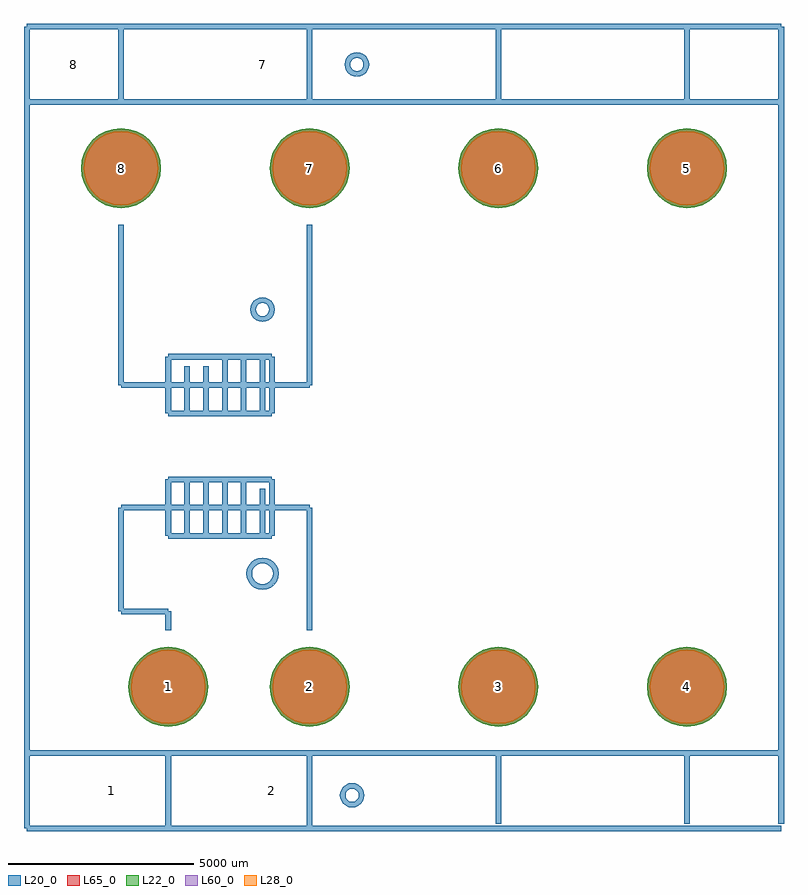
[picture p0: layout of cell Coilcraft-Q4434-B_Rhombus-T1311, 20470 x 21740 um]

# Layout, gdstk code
import gdstk
lib = gdstk.Library(unit=1e-6, precision=1e-09)
def P(c, l, *ps):  # polygons
    for p in ps: c.add(gdstk.Polygon(p, *l))
L20_0 = (20, 0)
L22_0 = (22, 0)
L28_0 = (28, 0)
L60_0 = (60, 0)
L65_0 = (65, 0)

coilcraft_q4434_b_rhombu = lib.new_cell('Coilcraft-Q4434-B_Rhombus-T1311')
P(coilcraft_q4434_b_rhombu, L22_0, [(8694.49,-6350),(8673.844,-6140.377),(8612.699,-5938.81),(8513.406,-5753.045),(8379.779,-5590.221),(8216.955,-5456.594),(8031.19,-5357.301),(7829.623,-5296.156),(7620,-5275.51),(7410.377,-5296.156),(7208.81,-5357.301),(7023.045,-5456.594),(6860.221,-5590.221),(6726.594,-5753.045),(6627.301,-5938.81),(6566.156,-6140.377),(6545.51,-6350),(6566.156,-6559.623),(6627.301,-6761.19),(6726.594,-6946.955),(6860.221,-7109.779),(7023.045,-7243.406),(7208.81,-7342.699),(7410.377,-7403.844),(7620,-7424.49),(7829.623,-7403.844),(8031.19,-7342.699),(8216.955,-7243.406),(8379.779,-7109.779),(8513.406,-6946.955),(8612.699,-6761.19),(8673.844,-6559.623)],
  [(3614.49,-6350),(3593.844,-6140.377),(3532.699,-5938.81),(3433.406,-5753.045),(3299.779,-5590.221),(3136.955,-5456.594),(2951.19,-5357.301),(2749.623,-5296.156),(2540,-5275.51),(2330.377,-5296.156),(2128.81,-5357.301),(1943.045,-5456.594),(1780.221,-5590.221),(1646.594,-5753.045),(1547.301,-5938.81),(1486.156,-6140.377),(1465.51,-6350),(1486.156,-6559.623),(1547.301,-6761.19),(1646.594,-6946.955),(1780.221,-7109.779),(1943.045,-7243.406),(2128.81,-7342.699),(2330.377,-7403.844),(2540,-7424.49),(2749.623,-7403.844),(2951.19,-7342.699),(3136.955,-7243.406),(3299.779,-7109.779),(3433.406,-6946.955),(3532.699,-6761.19),(3593.844,-6559.623)],
  [(-1465.51,-6350),(-1486.156,-6140.377),(-1547.301,-5938.81),(-1646.594,-5753.045),(-1780.221,-5590.221),(-1943.045,-5456.594),(-2128.81,-5357.301),(-2330.377,-5296.156),(-2540,-5275.51),(-2749.623,-5296.156),(-2951.19,-5357.301),(-3136.955,-5456.594),(-3299.779,-5590.221),(-3433.406,-5753.045),(-3532.699,-5938.81),(-3593.844,-6140.377),(-3614.49,-6350),(-3593.844,-6559.623),(-3532.699,-6761.19),(-3433.406,-6946.955),(-3299.779,-7109.779),(-3136.955,-7243.406),(-2951.19,-7342.699),(-2749.623,-7403.844),(-2540,-7424.49),(-2330.377,-7403.844),(-2128.81,-7342.699),(-1943.045,-7243.406),(-1780.221,-7109.779),(-1646.594,-6946.955),(-1547.301,-6761.19),(-1486.156,-6559.623)],
  [(-5275.51,-6350),(-5296.156,-6140.377),(-5357.301,-5938.81),(-5456.594,-5753.045),(-5590.221,-5590.221),(-5753.045,-5456.594),(-5938.81,-5357.301),(-6140.377,-5296.156),(-6350,-5275.51),(-6559.623,-5296.156),(-6761.19,-5357.301),(-6946.955,-5456.594),(-7109.779,-5590.221),(-7243.406,-5753.045),(-7342.699,-5938.81),(-7403.844,-6140.377),(-7424.49,-6350),(-7403.844,-6559.623),(-7342.699,-6761.19),(-7243.406,-6946.955),(-7109.779,-7109.779),(-6946.955,-7243.406),(-6761.19,-7342.699),(-6559.623,-7403.844),(-6350,-7424.49),(-6140.377,-7403.844),(-5938.81,-7342.699),(-5753.045,-7243.406),(-5590.221,-7109.779),(-5456.594,-6946.955),(-5357.301,-6761.19),(-5296.156,-6559.623)],
  [(-6545.51,7620),(-6566.156,7829.623),(-6627.301,8031.19),(-6726.594,8216.955),(-6860.221,8379.779),(-7023.045,8513.406),(-7208.81,8612.699),(-7410.377,8673.844),(-7620,8694.49),(-7829.623,8673.844),(-8031.19,8612.699),(-8216.955,8513.406),(-8379.779,8379.779),(-8513.406,8216.955),(-8612.699,8031.19),(-8673.844,7829.623),(-8694.49,7620),(-8673.844,7410.377),(-8612.699,7208.81),(-8513.406,7023.045),(-8379.779,6860.221),(-8216.955,6726.594),(-8031.19,6627.301),(-7829.623,6566.156),(-7620,6545.51),(-7410.377,6566.156),(-7208.81,6627.301),(-7023.045,6726.594),(-6860.221,6860.221),(-6726.594,7023.045),(-6627.301,7208.81),(-6566.156,7410.377)],
  [(-1465.51,7620),(-1486.156,7829.623),(-1547.301,8031.19),(-1646.594,8216.955),(-1780.221,8379.779),(-1943.045,8513.406),(-2128.81,8612.699),(-2330.377,8673.844),(-2540,8694.49),(-2749.623,8673.844),(-2951.19,8612.699),(-3136.955,8513.406),(-3299.779,8379.779),(-3433.406,8216.955),(-3532.699,8031.19),(-3593.844,7829.623),(-3614.49,7620),(-3593.844,7410.377),(-3532.699,7208.81),(-3433.406,7023.045),(-3299.779,6860.221),(-3136.955,6726.594),(-2951.19,6627.301),(-2749.623,6566.156),(-2540,6545.51),(-2330.377,6566.156),(-2128.81,6627.301),(-1943.045,6726.594),(-1780.221,6860.221),(-1646.594,7023.045),(-1547.301,7208.81),(-1486.156,7410.377)],
  [(3614.49,7620),(3593.844,7829.623),(3532.699,8031.19),(3433.406,8216.955),(3299.779,8379.779),(3136.955,8513.406),(2951.19,8612.699),(2749.623,8673.844),(2540,8694.49),(2330.377,8673.844),(2128.81,8612.699),(1943.045,8513.406),(1780.221,8379.779),(1646.594,8216.955),(1547.301,8031.19),(1486.156,7829.623),(1465.51,7620),(1486.156,7410.377),(1547.301,7208.81),(1646.594,7023.045),(1780.221,6860.221),(1943.045,6726.594),(2128.81,6627.301),(2330.377,6566.156),(2540,6545.51),(2749.623,6566.156),(2951.19,6627.301),(3136.955,6726.594),(3299.779,6860.221),(3433.406,7023.045),(3532.699,7208.81),(3593.844,7410.377)],
  [(8694.49,7620),(8673.844,7829.623),(8612.699,8031.19),(8513.406,8216.955),(8379.779,8379.779),(8216.955,8513.406),(8031.19,8612.699),(7829.623,8673.844),(7620,8694.49),(7410.377,8673.844),(7208.81,8612.699),(7023.045,8513.406),(6860.221,8379.779),(6726.594,8216.955),(6627.301,8031.19),(6566.156,7829.623),(6545.51,7620),(6566.156,7410.377),(6627.301,7208.81),(6726.594,7023.045),(6860.221,6860.221),(7023.045,6726.594),(7208.81,6627.301),(7410.377,6566.156),(7620,6545.51),(7829.623,6566.156),(8031.19,6627.301),(8216.955,6726.594),(8379.779,6860.221),(8513.406,7023.045),(8612.699,7208.81),(8673.844,7410.377)])
P(coilcraft_q4434_b_rhombu, L28_0, [(8619.49,-6350),(8600.285,-6155.009),(8543.408,-5967.512),(8451.046,-5794.713),(8326.746,-5643.254),(8175.287,-5518.954),(8002.488,-5426.592),(7814.991,-5369.715),(7620,-5350.51),(7425.009,-5369.715),(7237.512,-5426.592),(7064.713,-5518.954),(6913.254,-5643.254),(6788.954,-5794.713),(6696.592,-5967.512),(6639.715,-6155.009),(6620.51,-6350),(6639.715,-6544.991),(6696.592,-6732.488),(6788.954,-6905.287),(6913.254,-7056.746),(7064.713,-7181.046),(7237.512,-7273.408),(7425.009,-7330.285),(7620,-7349.49),(7814.991,-7330.285),(8002.488,-7273.408),(8175.287,-7181.046),(8326.746,-7056.746),(8451.046,-6905.287),(8543.408,-6732.488),(8600.285,-6544.991)],
  [(3539.49,-6350),(3520.285,-6155.009),(3463.408,-5967.512),(3371.046,-5794.713),(3246.746,-5643.254),(3095.287,-5518.954),(2922.488,-5426.592),(2734.991,-5369.715),(2540,-5350.51),(2345.009,-5369.715),(2157.512,-5426.592),(1984.713,-5518.954),(1833.254,-5643.254),(1708.954,-5794.713),(1616.592,-5967.512),(1559.715,-6155.009),(1540.51,-6350),(1559.715,-6544.991),(1616.592,-6732.488),(1708.954,-6905.287),(1833.254,-7056.746),(1984.713,-7181.046),(2157.512,-7273.408),(2345.009,-7330.285),(2540,-7349.49),(2734.991,-7330.285),(2922.488,-7273.408),(3095.287,-7181.046),(3246.746,-7056.746),(3371.046,-6905.287),(3463.408,-6732.488),(3520.285,-6544.991)],
  [(-1540.51,-6350),(-1559.715,-6155.009),(-1616.592,-5967.512),(-1708.954,-5794.713),(-1833.254,-5643.254),(-1984.713,-5518.954),(-2157.512,-5426.592),(-2345.009,-5369.715),(-2540,-5350.51),(-2734.991,-5369.715),(-2922.488,-5426.592),(-3095.287,-5518.954),(-3246.746,-5643.254),(-3371.046,-5794.713),(-3463.408,-5967.512),(-3520.285,-6155.009),(-3539.49,-6350),(-3520.285,-6544.991),(-3463.408,-6732.488),(-3371.046,-6905.287),(-3246.746,-7056.746),(-3095.287,-7181.046),(-2922.488,-7273.408),(-2734.991,-7330.285),(-2540,-7349.49),(-2345.009,-7330.285),(-2157.512,-7273.408),(-1984.713,-7181.046),(-1833.254,-7056.746),(-1708.954,-6905.287),(-1616.592,-6732.488),(-1559.715,-6544.991)],
  [(-5350.51,-6350),(-5369.715,-6155.009),(-5426.592,-5967.512),(-5518.954,-5794.713),(-5643.254,-5643.254),(-5794.713,-5518.954),(-5967.512,-5426.592),(-6155.009,-5369.715),(-6350,-5350.51),(-6544.991,-5369.715),(-6732.488,-5426.592),(-6905.287,-5518.954),(-7056.746,-5643.254),(-7181.046,-5794.713),(-7273.408,-5967.512),(-7330.285,-6155.009),(-7349.49,-6350),(-7330.285,-6544.991),(-7273.408,-6732.488),(-7181.046,-6905.287),(-7056.746,-7056.746),(-6905.287,-7181.046),(-6732.488,-7273.408),(-6544.991,-7330.285),(-6350,-7349.49),(-6155.009,-7330.285),(-5967.512,-7273.408),(-5794.713,-7181.046),(-5643.254,-7056.746),(-5518.954,-6905.287),(-5426.592,-6732.488),(-5369.715,-6544.991)],
  [(-6620.51,7620),(-6639.715,7814.991),(-6696.592,8002.488),(-6788.954,8175.287),(-6913.254,8326.746),(-7064.713,8451.046),(-7237.512,8543.408),(-7425.009,8600.285),(-7620,8619.49),(-7814.991,8600.285),(-8002.488,8543.408),(-8175.287,8451.046),(-8326.746,8326.746),(-8451.046,8175.287),(-8543.408,8002.488),(-8600.285,7814.991),(-8619.49,7620),(-8600.285,7425.009),(-8543.408,7237.512),(-8451.046,7064.713),(-8326.746,6913.254),(-8175.287,6788.954),(-8002.488,6696.592),(-7814.991,6639.715),(-7620,6620.51),(-7425.009,6639.715),(-7237.512,6696.592),(-7064.713,6788.954),(-6913.254,6913.254),(-6788.954,7064.713),(-6696.592,7237.512),(-6639.715,7425.009)],
  [(-1540.51,7620),(-1559.715,7814.991),(-1616.592,8002.488),(-1708.954,8175.287),(-1833.254,8326.746),(-1984.713,8451.046),(-2157.512,8543.408),(-2345.009,8600.285),(-2540,8619.49),(-2734.991,8600.285),(-2922.488,8543.408),(-3095.287,8451.046),(-3246.746,8326.746),(-3371.046,8175.287),(-3463.408,8002.488),(-3520.285,7814.991),(-3539.49,7620),(-3520.285,7425.009),(-3463.408,7237.512),(-3371.046,7064.713),(-3246.746,6913.254),(-3095.287,6788.954),(-2922.488,6696.592),(-2734.991,6639.715),(-2540,6620.51),(-2345.009,6639.715),(-2157.512,6696.592),(-1984.713,6788.954),(-1833.254,6913.254),(-1708.954,7064.713),(-1616.592,7237.512),(-1559.715,7425.009)],
  [(3539.49,7620),(3520.285,7814.991),(3463.408,8002.488),(3371.046,8175.287),(3246.746,8326.746),(3095.287,8451.046),(2922.488,8543.408),(2734.991,8600.285),(2540,8619.49),(2345.009,8600.285),(2157.512,8543.408),(1984.713,8451.046),(1833.254,8326.746),(1708.954,8175.287),(1616.592,8002.488),(1559.715,7814.991),(1540.51,7620),(1559.715,7425.009),(1616.592,7237.512),(1708.954,7064.713),(1833.254,6913.254),(1984.713,6788.954),(2157.512,6696.592),(2345.009,6639.715),(2540,6620.51),(2734.991,6639.715),(2922.488,6696.592),(3095.287,6788.954),(3246.746,6913.254),(3371.046,7064.713),(3463.408,7237.512),(3520.285,7425.009)],
  [(8619.49,7620),(8600.285,7814.991),(8543.408,8002.488),(8451.046,8175.287),(8326.746,8326.746),(8175.287,8451.046),(8002.488,8543.408),(7814.991,8600.285),(7620,8619.49),(7425.009,8600.285),(7237.512,8543.408),(7064.713,8451.046),(6913.254,8326.746),(6788.954,8175.287),(6696.592,8002.488),(6639.715,7814.991),(6620.51,7620),(6639.715,7425.009),(6696.592,7237.512),(6788.954,7064.713),(6913.254,6913.254),(7064.713,6788.954),(7237.512,6696.592),(7425.009,6639.715),(7620,6620.51),(7814.991,6639.715),(8002.488,6696.592),(8175.287,6788.954),(8326.746,6913.254),(8451.046,7064.713),(8543.408,7237.512),(8600.285,7425.009)])
P(coilcraft_q4434_b_rhombu, L60_0, [(8619.49,-6350),(8600.285,-6155.009),(8543.408,-5967.512),(8451.046,-5794.713),(8326.746,-5643.254),(8175.287,-5518.954),(8002.488,-5426.592),(7814.991,-5369.715),(7620,-5350.51),(7425.009,-5369.715),(7237.512,-5426.592),(7064.713,-5518.954),(6913.254,-5643.254),(6788.954,-5794.713),(6696.592,-5967.512),(6639.715,-6155.009),(6620.51,-6350),(6639.715,-6544.991),(6696.592,-6732.488),(6788.954,-6905.287),(6913.254,-7056.746),(7064.713,-7181.046),(7237.512,-7273.408),(7425.009,-7330.285),(7620,-7349.49),(7814.991,-7330.285),(8002.488,-7273.408),(8175.287,-7181.046),(8326.746,-7056.746),(8451.046,-6905.287),(8543.408,-6732.488),(8600.285,-6544.991)],
  [(3539.49,-6350),(3520.285,-6155.009),(3463.408,-5967.512),(3371.046,-5794.713),(3246.746,-5643.254),(3095.287,-5518.954),(2922.488,-5426.592),(2734.991,-5369.715),(2540,-5350.51),(2345.009,-5369.715),(2157.512,-5426.592),(1984.713,-5518.954),(1833.254,-5643.254),(1708.954,-5794.713),(1616.592,-5967.512),(1559.715,-6155.009),(1540.51,-6350),(1559.715,-6544.991),(1616.592,-6732.488),(1708.954,-6905.287),(1833.254,-7056.746),(1984.713,-7181.046),(2157.512,-7273.408),(2345.009,-7330.285),(2540,-7349.49),(2734.991,-7330.285),(2922.488,-7273.408),(3095.287,-7181.046),(3246.746,-7056.746),(3371.046,-6905.287),(3463.408,-6732.488),(3520.285,-6544.991)],
  [(-1540.51,-6350),(-1559.715,-6155.009),(-1616.592,-5967.512),(-1708.954,-5794.713),(-1833.254,-5643.254),(-1984.713,-5518.954),(-2157.512,-5426.592),(-2345.009,-5369.715),(-2540,-5350.51),(-2734.991,-5369.715),(-2922.488,-5426.592),(-3095.287,-5518.954),(-3246.746,-5643.254),(-3371.046,-5794.713),(-3463.408,-5967.512),(-3520.285,-6155.009),(-3539.49,-6350),(-3520.285,-6544.991),(-3463.408,-6732.488),(-3371.046,-6905.287),(-3246.746,-7056.746),(-3095.287,-7181.046),(-2922.488,-7273.408),(-2734.991,-7330.285),(-2540,-7349.49),(-2345.009,-7330.285),(-2157.512,-7273.408),(-1984.713,-7181.046),(-1833.254,-7056.746),(-1708.954,-6905.287),(-1616.592,-6732.488),(-1559.715,-6544.991)],
  [(-5350.51,-6350),(-5369.715,-6155.009),(-5426.592,-5967.512),(-5518.954,-5794.713),(-5643.254,-5643.254),(-5794.713,-5518.954),(-5967.512,-5426.592),(-6155.009,-5369.715),(-6350,-5350.51),(-6544.991,-5369.715),(-6732.488,-5426.592),(-6905.287,-5518.954),(-7056.746,-5643.254),(-7181.046,-5794.713),(-7273.408,-5967.512),(-7330.285,-6155.009),(-7349.49,-6350),(-7330.285,-6544.991),(-7273.408,-6732.488),(-7181.046,-6905.287),(-7056.746,-7056.746),(-6905.287,-7181.046),(-6732.488,-7273.408),(-6544.991,-7330.285),(-6350,-7349.49),(-6155.009,-7330.285),(-5967.512,-7273.408),(-5794.713,-7181.046),(-5643.254,-7056.746),(-5518.954,-6905.287),(-5426.592,-6732.488),(-5369.715,-6544.991)],
  [(-6620.51,7620),(-6639.715,7814.991),(-6696.592,8002.488),(-6788.954,8175.287),(-6913.254,8326.746),(-7064.713,8451.046),(-7237.512,8543.408),(-7425.009,8600.285),(-7620,8619.49),(-7814.991,8600.285),(-8002.488,8543.408),(-8175.287,8451.046),(-8326.746,8326.746),(-8451.046,8175.287),(-8543.408,8002.488),(-8600.285,7814.991),(-8619.49,7620),(-8600.285,7425.009),(-8543.408,7237.512),(-8451.046,7064.713),(-8326.746,6913.254),(-8175.287,6788.954),(-8002.488,6696.592),(-7814.991,6639.715),(-7620,6620.51),(-7425.009,6639.715),(-7237.512,6696.592),(-7064.713,6788.954),(-6913.254,6913.254),(-6788.954,7064.713),(-6696.592,7237.512),(-6639.715,7425.009)],
  [(-1540.51,7620),(-1559.715,7814.991),(-1616.592,8002.488),(-1708.954,8175.287),(-1833.254,8326.746),(-1984.713,8451.046),(-2157.512,8543.408),(-2345.009,8600.285),(-2540,8619.49),(-2734.991,8600.285),(-2922.488,8543.408),(-3095.287,8451.046),(-3246.746,8326.746),(-3371.046,8175.287),(-3463.408,8002.488),(-3520.285,7814.991),(-3539.49,7620),(-3520.285,7425.009),(-3463.408,7237.512),(-3371.046,7064.713),(-3246.746,6913.254),(-3095.287,6788.954),(-2922.488,6696.592),(-2734.991,6639.715),(-2540,6620.51),(-2345.009,6639.715),(-2157.512,6696.592),(-1984.713,6788.954),(-1833.254,6913.254),(-1708.954,7064.713),(-1616.592,7237.512),(-1559.715,7425.009)],
  [(3539.49,7620),(3520.285,7814.991),(3463.408,8002.488),(3371.046,8175.287),(3246.746,8326.746),(3095.287,8451.046),(2922.488,8543.408),(2734.991,8600.285),(2540,8619.49),(2345.009,8600.285),(2157.512,8543.408),(1984.713,8451.046),(1833.254,8326.746),(1708.954,8175.287),(1616.592,8002.488),(1559.715,7814.991),(1540.51,7620),(1559.715,7425.009),(1616.592,7237.512),(1708.954,7064.713),(1833.254,6913.254),(1984.713,6788.954),(2157.512,6696.592),(2345.009,6639.715),(2540,6620.51),(2734.991,6639.715),(2922.488,6696.592),(3095.287,6788.954),(3246.746,6913.254),(3371.046,7064.713),(3463.408,7237.512),(3520.285,7425.009)],
  [(8619.49,7620),(8600.285,7814.991),(8543.408,8002.488),(8451.046,8175.287),(8326.746,8326.746),(8175.287,8451.046),(8002.488,8543.408),(7814.991,8600.285),(7620,8619.49),(7425.009,8600.285),(7237.512,8543.408),(7064.713,8451.046),(6913.254,8326.746),(6788.954,8175.287),(6696.592,8002.488),(6639.715,7814.991),(6620.51,7620),(6639.715,7425.009),(6696.592,7237.512),(6788.954,7064.713),(6913.254,6913.254),(7064.713,6788.954),(7237.512,6696.592),(7425.009,6639.715),(7620,6620.51),(7814.991,6639.715),(8002.488,6696.592),(8175.287,6788.954),(8326.746,6913.254),(8451.046,7064.713),(8543.408,7237.512),(8600.285,7425.009)])
P(coilcraft_q4434_b_rhombu, L65_0, [(8694.49,-6350),(8673.844,-6140.377),(8612.699,-5938.81),(8513.406,-5753.045),(8379.779,-5590.221),(8216.955,-5456.594),(8031.19,-5357.301),(7829.623,-5296.156),(7620,-5275.51),(7410.377,-5296.156),(7208.81,-5357.301),(7023.045,-5456.594),(6860.221,-5590.221),(6726.594,-5753.045),(6627.301,-5938.81),(6566.156,-6140.377),(6545.51,-6350),(6566.156,-6559.623),(6627.301,-6761.19),(6726.594,-6946.955),(6860.221,-7109.779),(7023.045,-7243.406),(7208.81,-7342.699),(7410.377,-7403.844),(7620,-7424.49),(7829.623,-7403.844),(8031.19,-7342.699),(8216.955,-7243.406),(8379.779,-7109.779),(8513.406,-6946.955),(8612.699,-6761.19),(8673.844,-6559.623)],
  [(3614.49,-6350),(3593.844,-6140.377),(3532.699,-5938.81),(3433.406,-5753.045),(3299.779,-5590.221),(3136.955,-5456.594),(2951.19,-5357.301),(2749.623,-5296.156),(2540,-5275.51),(2330.377,-5296.156),(2128.81,-5357.301),(1943.045,-5456.594),(1780.221,-5590.221),(1646.594,-5753.045),(1547.301,-5938.81),(1486.156,-6140.377),(1465.51,-6350),(1486.156,-6559.623),(1547.301,-6761.19),(1646.594,-6946.955),(1780.221,-7109.779),(1943.045,-7243.406),(2128.81,-7342.699),(2330.377,-7403.844),(2540,-7424.49),(2749.623,-7403.844),(2951.19,-7342.699),(3136.955,-7243.406),(3299.779,-7109.779),(3433.406,-6946.955),(3532.699,-6761.19),(3593.844,-6559.623)],
  [(-1465.51,-6350),(-1486.156,-6140.377),(-1547.301,-5938.81),(-1646.594,-5753.045),(-1780.221,-5590.221),(-1943.045,-5456.594),(-2128.81,-5357.301),(-2330.377,-5296.156),(-2540,-5275.51),(-2749.623,-5296.156),(-2951.19,-5357.301),(-3136.955,-5456.594),(-3299.779,-5590.221),(-3433.406,-5753.045),(-3532.699,-5938.81),(-3593.844,-6140.377),(-3614.49,-6350),(-3593.844,-6559.623),(-3532.699,-6761.19),(-3433.406,-6946.955),(-3299.779,-7109.779),(-3136.955,-7243.406),(-2951.19,-7342.699),(-2749.623,-7403.844),(-2540,-7424.49),(-2330.377,-7403.844),(-2128.81,-7342.699),(-1943.045,-7243.406),(-1780.221,-7109.779),(-1646.594,-6946.955),(-1547.301,-6761.19),(-1486.156,-6559.623)],
  [(-5275.51,-6350),(-5296.156,-6140.377),(-5357.301,-5938.81),(-5456.594,-5753.045),(-5590.221,-5590.221),(-5753.045,-5456.594),(-5938.81,-5357.301),(-6140.377,-5296.156),(-6350,-5275.51),(-6559.623,-5296.156),(-6761.19,-5357.301),(-6946.955,-5456.594),(-7109.779,-5590.221),(-7243.406,-5753.045),(-7342.699,-5938.81),(-7403.844,-6140.377),(-7424.49,-6350),(-7403.844,-6559.623),(-7342.699,-6761.19),(-7243.406,-6946.955),(-7109.779,-7109.779),(-6946.955,-7243.406),(-6761.19,-7342.699),(-6559.623,-7403.844),(-6350,-7424.49),(-6140.377,-7403.844),(-5938.81,-7342.699),(-5753.045,-7243.406),(-5590.221,-7109.779),(-5456.594,-6946.955),(-5357.301,-6761.19),(-5296.156,-6559.623)],
  [(-6545.51,7620),(-6566.156,7829.623),(-6627.301,8031.19),(-6726.594,8216.955),(-6860.221,8379.779),(-7023.045,8513.406),(-7208.81,8612.699),(-7410.377,8673.844),(-7620,8694.49),(-7829.623,8673.844),(-8031.19,8612.699),(-8216.955,8513.406),(-8379.779,8379.779),(-8513.406,8216.955),(-8612.699,8031.19),(-8673.844,7829.623),(-8694.49,7620),(-8673.844,7410.377),(-8612.699,7208.81),(-8513.406,7023.045),(-8379.779,6860.221),(-8216.955,6726.594),(-8031.19,6627.301),(-7829.623,6566.156),(-7620,6545.51),(-7410.377,6566.156),(-7208.81,6627.301),(-7023.045,6726.594),(-6860.221,6860.221),(-6726.594,7023.045),(-6627.301,7208.81),(-6566.156,7410.377)],
  [(-1465.51,7620),(-1486.156,7829.623),(-1547.301,8031.19),(-1646.594,8216.955),(-1780.221,8379.779),(-1943.045,8513.406),(-2128.81,8612.699),(-2330.377,8673.844),(-2540,8694.49),(-2749.623,8673.844),(-2951.19,8612.699),(-3136.955,8513.406),(-3299.779,8379.779),(-3433.406,8216.955),(-3532.699,8031.19),(-3593.844,7829.623),(-3614.49,7620),(-3593.844,7410.377),(-3532.699,7208.81),(-3433.406,7023.045),(-3299.779,6860.221),(-3136.955,6726.594),(-2951.19,6627.301),(-2749.623,6566.156),(-2540,6545.51),(-2330.377,6566.156),(-2128.81,6627.301),(-1943.045,6726.594),(-1780.221,6860.221),(-1646.594,7023.045),(-1547.301,7208.81),(-1486.156,7410.377)],
  [(3614.49,7620),(3593.844,7829.623),(3532.699,8031.19),(3433.406,8216.955),(3299.779,8379.779),(3136.955,8513.406),(2951.19,8612.699),(2749.623,8673.844),(2540,8694.49),(2330.377,8673.844),(2128.81,8612.699),(1943.045,8513.406),(1780.221,8379.779),(1646.594,8216.955),(1547.301,8031.19),(1486.156,7829.623),(1465.51,7620),(1486.156,7410.377),(1547.301,7208.81),(1646.594,7023.045),(1780.221,6860.221),(1943.045,6726.594),(2128.81,6627.301),(2330.377,6566.156),(2540,6545.51),(2749.623,6566.156),(2951.19,6627.301),(3136.955,6726.594),(3299.779,6860.221),(3433.406,7023.045),(3532.699,7208.81),(3593.844,7410.377)],
  [(8694.49,7620),(8673.844,7829.623),(8612.699,8031.19),(8513.406,8216.955),(8379.779,8379.779),(8216.955,8513.406),(8031.19,8612.699),(7829.623,8673.844),(7620,8694.49),(7410.377,8673.844),(7208.81,8612.699),(7023.045,8513.406),(6860.221,8379.779),(6726.594,8216.955),(6627.301,8031.19),(6566.156,7829.623),(6545.51,7620),(6566.156,7410.377),(6627.301,7208.81),(6726.594,7023.045),(6860.221,6860.221),(7023.045,6726.594),(7208.81,6627.301),(7410.377,6566.156),(7620,6545.51),(7829.623,6566.156),(8031.19,6627.301),(8216.955,6726.594),(8379.779,6860.221),(8513.406,7023.045),(8612.699,7208.81),(8673.844,7410.377)])
coilcraft_q4434_b_rhombu.add(gdstk.FlexPath([(10160,-8128),(10160,9398)], 149.998, ends="flush", simple_path=True, layer=20, datatype=0))  # L20_0
coilcraft_q4434_b_rhombu.add(gdstk.FlexPath([(-10160,-8128),(10160,-8128)], 149.998, ends="flush", simple_path=True, layer=20, datatype=0))  # L20_0
coilcraft_q4434_b_rhombu.add(gdstk.FlexPath([(-10160,9398),(-10160,-8128)], 149.998, ends="flush", simple_path=True, layer=20, datatype=0))  # L20_0
coilcraft_q4434_b_rhombu.add(gdstk.FlexPath([(10160,9398),(-10160,9398)], 149.998, ends="flush", simple_path=True, layer=20, datatype=0))  # L20_0
coilcraft_q4434_b_rhombu.add(gdstk.FlexPath([(10160,11430),(-10160,11430)], 149.998, ends="flush", simple_path=True, layer=20, datatype=0))  # L20_0
coilcraft_q4434_b_rhombu.add(gdstk.FlexPath([(-10160,11430),(-10160,9398)], 149.998, ends="flush", simple_path=True, layer=20, datatype=0))  # L20_0
coilcraft_q4434_b_rhombu.add(gdstk.FlexPath([(10160,11430),(10160,9398)], 149.998, ends="flush", simple_path=True, layer=20, datatype=0))  # L20_0
coilcraft_q4434_b_rhombu.add(gdstk.FlexPath([(7620,9398),(7620,11430)], 149.998, ends="flush", simple_path=True, layer=20, datatype=0))  # L20_0
coilcraft_q4434_b_rhombu.add(gdstk.FlexPath([(2540,9398),(2540,11430)], 149.998, ends="flush", simple_path=True, layer=20, datatype=0))  # L20_0
coilcraft_q4434_b_rhombu.add(gdstk.FlexPath([(-2540,9398),(-2540,11430)], 149.998, ends="flush", simple_path=True, layer=20, datatype=0))  # L20_0
coilcraft_q4434_b_rhombu.add(gdstk.FlexPath([(-7620,9398),(-7620,11430)], 149.998, ends="flush", simple_path=True, layer=20, datatype=0))  # L20_0
coilcraft_q4434_b_rhombu.add(gdstk.FlexPath([(-2540,1778),(-2540,6096)], 149.998, ends="flush", simple_path=True, layer=20, datatype=0))  # L20_0
coilcraft_q4434_b_rhombu.add(gdstk.FlexPath([(-7620,1778),(-2540,1778)], 149.998, ends="flush", simple_path=True, layer=20, datatype=0))  # L20_0
coilcraft_q4434_b_rhombu.add(gdstk.FlexPath([(-7620,4572),(-7620,1778)], 149.998, ends="flush", simple_path=True, layer=20, datatype=0))  # L20_0
coilcraft_q4434_b_rhombu.add(gdstk.FlexPath([(-7620,6096),(-7620,4572)], 149.998, ends="flush", simple_path=True, layer=20, datatype=0))  # L20_0
coilcraft_q4434_b_rhombu.add(gdstk.FlexPath([(-6350,1016),(-6350,2540)], 149.998, ends="flush", simple_path=True, layer=20, datatype=0))  # L20_0
coilcraft_q4434_b_rhombu.add(gdstk.FlexPath([(-3556,1016),(-6350,1016)], 149.998, ends="flush", simple_path=True, layer=20, datatype=0))  # L20_0
coilcraft_q4434_b_rhombu.add(gdstk.FlexPath([(-3556,2540),(-3556,1016)], 149.998, ends="flush", simple_path=True, layer=20, datatype=0))  # L20_0
coilcraft_q4434_b_rhombu.add(gdstk.FlexPath([(-6350,2540),(-3556,2540)], 149.998, ends="flush", simple_path=True, layer=20, datatype=0))  # L20_0
coilcraft_q4434_b_rhombu.add(gdstk.FlexPath([(-5842,2286),(-5842,1016)], 149.998, ends="flush", simple_path=True, layer=20, datatype=0))  # L20_0
coilcraft_q4434_b_rhombu.add(gdstk.FlexPath([(-5334,2286),(-5334,1016)], 149.998, ends="flush", simple_path=True, layer=20, datatype=0))  # L20_0
coilcraft_q4434_b_rhombu.add(gdstk.FlexPath([(-4826,2540),(-4826,1016)], 149.998, ends="flush", simple_path=True, layer=20, datatype=0))  # L20_0
coilcraft_q4434_b_rhombu.add(gdstk.FlexPath([(-4318,2540),(-4318,1016)], 149.998, ends="flush", simple_path=True, layer=20, datatype=0))  # L20_0
coilcraft_q4434_b_rhombu.add(gdstk.FlexPath([(-3810,2540),(-3810,1016)], 149.998, ends="flush", simple_path=True, layer=20, datatype=0))  # L20_0
coilcraft_q4434_b_rhombu.add(gdstk.FlexPath([(-2540,-1524),(-2540,-4826)], 149.998, ends="flush", simple_path=True, layer=20, datatype=0))  # L20_0
coilcraft_q4434_b_rhombu.add(gdstk.FlexPath([(-6350,-1524),(-2540,-1524)], 149.998, ends="flush", simple_path=True, layer=20, datatype=0))  # L20_0
coilcraft_q4434_b_rhombu.add(gdstk.FlexPath([(-6350,-4318),(-6350,-4826)], 149.998, ends="flush", simple_path=True, layer=20, datatype=0))  # L20_0
coilcraft_q4434_b_rhombu.add(gdstk.FlexPath([(-7620,-4318),(-6350,-4318)], 149.998, ends="flush", simple_path=True, layer=20, datatype=0))  # L20_0
coilcraft_q4434_b_rhombu.add(gdstk.FlexPath([(-7620,-1524),(-7620,-4318)], 149.998, ends="flush", simple_path=True, layer=20, datatype=0))  # L20_0
coilcraft_q4434_b_rhombu.add(gdstk.FlexPath([(-6350,-1524),(-7620,-1524)], 149.998, ends="flush", simple_path=True, layer=20, datatype=0))  # L20_0
coilcraft_q4434_b_rhombu.add(gdstk.FlexPath([(-3556,-762),(-6350,-762)], 149.998, ends="flush", simple_path=True, layer=20, datatype=0))  # L20_0
coilcraft_q4434_b_rhombu.add(gdstk.FlexPath([(-3556,-2286),(-3556,-762)], 149.998, ends="flush", simple_path=True, layer=20, datatype=0))  # L20_0
coilcraft_q4434_b_rhombu.add(gdstk.FlexPath([(-6350,-2286),(-3556,-2286)], 149.998, ends="flush", simple_path=True, layer=20, datatype=0))  # L20_0
coilcraft_q4434_b_rhombu.add(gdstk.FlexPath([(-6350,-762),(-6350,-2286)], 149.998, ends="flush", simple_path=True, layer=20, datatype=0))  # L20_0
coilcraft_q4434_b_rhombu.add(gdstk.FlexPath([(-5842,-762),(-5842,-2286)], 149.998, ends="flush", simple_path=True, layer=20, datatype=0))  # L20_0
coilcraft_q4434_b_rhombu.add(gdstk.FlexPath([(-5334,-762),(-5334,-2286)], 149.998, ends="flush", simple_path=True, layer=20, datatype=0))  # L20_0
coilcraft_q4434_b_rhombu.add(gdstk.FlexPath([(-4826,-762),(-4826,-2286)], 149.998, ends="flush", simple_path=True, layer=20, datatype=0))  # L20_0
coilcraft_q4434_b_rhombu.add(gdstk.FlexPath([(-4318,-762),(-4318,-2286)], 149.998, ends="flush", simple_path=True, layer=20, datatype=0))  # L20_0
coilcraft_q4434_b_rhombu.add(gdstk.FlexPath([(-3810,-1016),(-3810,-2286)], 149.998, ends="flush", simple_path=True, layer=20, datatype=0))  # L20_0
coilcraft_q4434_b_rhombu.add(gdstk.FlexPath([(-3556,-3556),(-3498.915,-3481.605),(-3463.03,-3394.97),(-3450.79,-3302),(-3463.03,-3209.03),(-3498.915,-3122.395),(-3556,-3048),(-3630.395,-2990.915),(-3717.03,-2955.03),(-3810,-2942.79),(-3902.97,-2955.03),(-3989.605,-2990.915),(-4064,-3048),(-4121.085,-3122.395),(-4156.97,-3209.03),(-4169.21,-3302),(-4156.97,-3394.97),(-4121.085,-3481.605),(-4064,-3556),(-3989.605,-3613.085),(-3902.97,-3648.97),(-3810,-3661.21),(-3717.03,-3648.97),(-3630.395,-3613.085),(-3556,-3556)], 149.998, ends="flush", simple_path=True, layer=20, datatype=0))  # L20_0
coilcraft_q4434_b_rhombu.add(gdstk.FlexPath([(-3810,3556),(-3744.26,3564.655),(-3683,3590.03),(-3630.395,3630.395),(-3590.03,3683),(-3564.655,3744.26),(-3556,3810),(-3564.655,3875.74),(-3590.03,3937),(-3630.395,3989.605),(-3683,4029.97),(-3744.26,4055.345),(-3810,4064),(-3875.74,4055.345),(-3937,4029.97),(-3989.605,3989.605),(-4029.97,3937),(-4055.345,3875.74),(-4064,3810),(-4055.345,3744.26),(-4029.97,3683),(-3989.605,3630.395),(-3937,3590.03),(-3875.74,3564.655),(-3810,3556)], 149.998, ends="flush", simple_path=True, layer=20, datatype=0))  # L20_0
coilcraft_q4434_b_rhombu.add(gdstk.FlexPath([(-1270,10160),(-1204.26,10168.655),(-1143,10194.03),(-1090.395,10234.395),(-1050.03,10287),(-1024.655,10348.26),(-1016,10414),(-1024.655,10479.74),(-1050.03,10541),(-1090.395,10593.605),(-1143,10633.97),(-1204.26,10659.345),(-1270,10668),(-1335.74,10659.345),(-1397,10633.97),(-1449.605,10593.605),(-1489.97,10541),(-1515.345,10479.74),(-1524,10414),(-1515.345,10348.26),(-1489.97,10287),(-1449.605,10234.395),(-1397,10194.03),(-1335.74,10168.655),(-1270,10160)], 149.998, ends="flush", simple_path=True, layer=20, datatype=0))  # L20_0
coilcraft_q4434_b_rhombu.add(gdstk.FlexPath([(-1397,-9525),(-1331.26,-9516.345),(-1270,-9490.97),(-1217.395,-9450.605),(-1177.03,-9398),(-1151.655,-9336.74),(-1143,-9271),(-1151.655,-9205.26),(-1177.03,-9144),(-1217.395,-9091.395),(-1270,-9051.03),(-1331.26,-9025.655),(-1397,-9017),(-1462.74,-9025.655),(-1524,-9051.03),(-1576.605,-9091.395),(-1616.97,-9144),(-1642.345,-9205.26),(-1651,-9271),(-1642.345,-9336.74),(-1616.97,-9398),(-1576.605,-9450.605),(-1524,-9490.97),(-1462.74,-9516.345),(-1397,-9525)], 149.998, ends="flush", simple_path=True, layer=20, datatype=0))  # L20_0
coilcraft_q4434_b_rhombu.add(gdstk.FlexPath([(-10160,-10160),(10160,-10160)], 149.998, ends="flush", simple_path=True, layer=20, datatype=0))  # L20_0
coilcraft_q4434_b_rhombu.add(gdstk.FlexPath([(-10160,-8128),(-10160,-10160)], 149.998, ends="flush", simple_path=True, layer=20, datatype=0))  # L20_0
coilcraft_q4434_b_rhombu.add(gdstk.FlexPath([(10160,-8128),(10160,-10033)], 149.998, ends="flush", simple_path=True, layer=20, datatype=0))  # L20_0
coilcraft_q4434_b_rhombu.add(gdstk.FlexPath([(7620,-8128),(7620,-10033)], 149.998, ends="flush", simple_path=True, layer=20, datatype=0))  # L20_0
coilcraft_q4434_b_rhombu.add(gdstk.FlexPath([(2540,-8128),(2540,-10033)], 149.998, ends="flush", simple_path=True, layer=20, datatype=0))  # L20_0
coilcraft_q4434_b_rhombu.add(gdstk.FlexPath([(-2540,-8128),(-2540,-10160)], 149.998, ends="flush", simple_path=True, layer=20, datatype=0))  # L20_0
coilcraft_q4434_b_rhombu.add(gdstk.FlexPath([(-6350,-8128),(-6350,-10160)], 149.998, ends="flush", simple_path=True, layer=20, datatype=0))  # L20_0
coilcraft_q4434_b_rhombu.add(gdstk.Label('4', (7620,-6350), layer=28, texttype=0))
coilcraft_q4434_b_rhombu.add(gdstk.Label('3', (2540,-6350), layer=28, texttype=0))
coilcraft_q4434_b_rhombu.add(gdstk.Label('2', (-2540,-6350), layer=28, texttype=0))
coilcraft_q4434_b_rhombu.add(gdstk.Label('1', (-6350,-6350), layer=28, texttype=0))
coilcraft_q4434_b_rhombu.add(gdstk.Label('8', (-7620,7620), layer=28, texttype=0))
coilcraft_q4434_b_rhombu.add(gdstk.Label('7', (-2540,7620), layer=28, texttype=0))
coilcraft_q4434_b_rhombu.add(gdstk.Label('6', (2540,7620), layer=28, texttype=0))
coilcraft_q4434_b_rhombu.add(gdstk.Label('5', (7620,7620), layer=28, texttype=0))
coilcraft_q4434_b_rhombu.add(gdstk.Label('1', (-7874,-9144), layer=9, texttype=0))
coilcraft_q4434_b_rhombu.add(gdstk.Label('2', (-3556,-9144), layer=9, texttype=0))
coilcraft_q4434_b_rhombu.add(gdstk.Label('7', (-3810,10414), layer=9, texttype=0))
coilcraft_q4434_b_rhombu.add(gdstk.Label('8', (-8890,10414), layer=9, texttype=0))
coilcraft_q4434_b_rhombu.add(gdstk.Label('type', (0,-15240), layer=9, texttype=0))
coilcraft_q4434_b_rhombu.add(gdstk.Label('devicename', (0,13970), layer=9, texttype=0))

lib.write_gds('Coilcraft-Q4434-B_Rhombus-T1311.gds')
